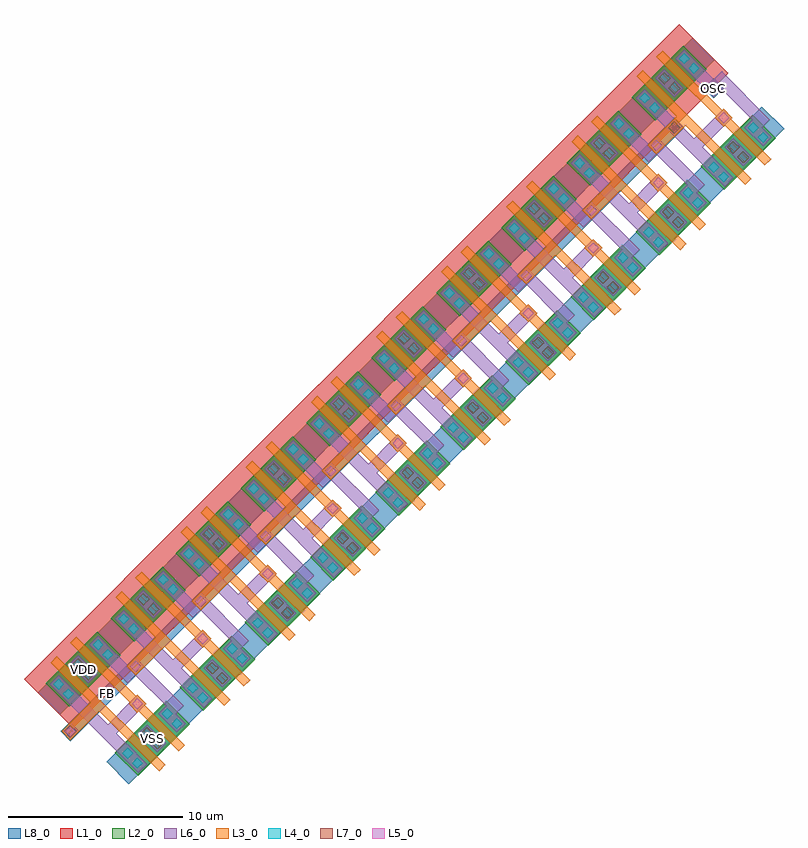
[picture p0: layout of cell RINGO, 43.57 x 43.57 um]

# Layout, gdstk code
from math import pi, radians
import gdstk
lib = gdstk.Library(unit=1e-6, precision=1e-09)
def P(c, l, *ps):  # polygons
    for p in ps: c.add(gdstk.Polygon(p, *l))
L1_0 = (1, 0)
L2_0 = (2, 0)
L3_0 = (3, 0)
L4_0 = (4, 0)
L5_0 = (5, 0)
L6_0 = (6, 0)
L7_0 = (7, 0)
L8_0 = (8, 0)

trans = lib.new_cell('TRANS')
P(trans, L2_0, [(-0.247,-1.591),(-1.591,-0.247),(0.247,1.591),(1.591,0.247)])
P(trans, L4_0, [(-0.283,-1.16),(-0.594,-0.849),(-0.283,-0.537),(0.028,-0.849)],
  [(-0.849,-0.594),(-1.16,-0.283),(-0.849,0.028),(-0.537,-0.283)],
  [(0.849,-0.028),(0.537,0.283),(0.849,0.594),(1.16,0.283)],
  [(0.283,0.537),(-0.028,0.849),(0.283,1.16),(0.594,0.849)])
P(trans, L6_0, [(-0.283,-1.358),(-1.358,-0.283),(-0.849,0.226),(0.226,-0.849)],
  [(0.849,-0.226),(-0.226,0.849),(0.283,1.358),(1.358,0.283)])
trans.add(gdstk.FlexPath([(1.131,-1.131),(-1.131,1.131)], 0.5, ends="flush", simple_path=True, layer=3, datatype=0))  # L3_0

inv2 = lib.new_cell('INV2')
P(inv2, L1_0, [(-4.525,0.566),(-7.354,3.394),(-3.394,7.354),(-0.566,4.525)])
P(inv2, L3_0, [(-0.389,-1.096),(-3.924,2.44),(-3.571,2.793),(-0.035,-0.742)],
  [(0.742,0.035),(-2.793,3.571),(-2.44,3.924),(1.096,0.389)],
  [(-0.849,1.471),(-1.358,1.98),(-0.849,2.489),(-0.339,1.98)],
  [(-4.695,-0.113),(-5.204,0.396),(-3.366,2.234),(-2.857,1.725)])
P(inv2, L5_0, [(-0.849,1.669),(-1.16,1.98),(-0.849,2.291),(-0.537,1.98)],
  [(-4.695,0.085),(-5.006,0.396),(-4.695,0.707),(-4.384,0.396)])
P(inv2, L6_0, [(-0.792,-1.98),(-4.808,2.036),(-4.299,2.546),(-0.283,-1.471)],
  [(-2.291,0.028),(-2.8,0.537),(-0.849,2.489),(-0.339,1.98)])
P(inv2, L7_0, [(0.283,-0.636),(-0.071,-0.283),(0.283,0.071),(0.636,-0.283)],
  [(-0.283,-0.071),(-0.636,0.283),(-0.283,0.636),(0.071,0.283)],
  [(-3.677,3.323),(-4.031,3.677),(-3.677,4.031),(-3.323,3.677)],
  [(-4.243,3.889),(-4.596,4.243),(-4.243,4.596),(-3.889,4.243)])
P(inv2, L8_0, [(-1.344,-2.616),(-2.616,-1.344),(1.344,2.616),(2.616,1.344)],
  [(-5.303,1.344),(-6.576,2.616),(-2.616,6.576),(-1.344,5.303)])
inv2.add(gdstk.FlexPath([(0.849,1.414),(1.301,1.867),(-0.962,4.13),(-1.414,3.677),(-2.291,4.554)], 0.72, ends="flush", simple_path=True, layer=6, datatype=0))  # L6_0
inv2.add(gdstk.Reference(trans, (-0.566,-0.566)))
inv2.add(gdstk.Reference(trans, (-4.525,3.394)))
inv2.add(gdstk.Reference(trans, (0.566,0.566), rotation=pi/2, x_reflection=True))
inv2.add(gdstk.Reference(trans, (-3.394,4.525), rotation=pi/2, x_reflection=True))
inv2.add(gdstk.Label('IN', (-3.677,1.414), layer=3, texttype=1))
inv2.add(gdstk.Label('OUT', (-1.414,3.677), layer=6, texttype=1))

ringo = lib.new_cell('RINGO')
P(ringo, L6_0, [(-4.695,-0.113),(-5.204,0.396),(-4.695,0.905),(-4.186,0.396)])
P(ringo, L7_0, [(-4.695,0.042),(-5.049,0.396),(-4.695,0.75),(-4.342,0.396)],
  [(29.925,34.662),(29.571,35.016),(29.925,35.369),(30.278,35.016)],
  [(32.188,36.925),(31.834,37.279),(32.188,37.632),(32.541,37.279)])
P(ringo, L8_0, [(-4.695,-0.17),(-5.261,0.396),(29.925,35.582),(30.49,35.016)],
  [(32.188,36.713),(31.622,37.279),(32.188,37.844),(32.753,37.279)])
ringo.add(gdstk.Reference(inv2, (0,0)))
ringo.add(gdstk.Reference(inv2, (3.734,3.734)))
ringo.add(gdstk.Reference(inv2, (7.467,7.467)))
ringo.add(gdstk.Reference(inv2, (11.201,11.201)))
ringo.add(gdstk.Reference(inv2, (14.934,14.934)))
ringo.add(gdstk.Reference(inv2, (18.668,18.668)))
ringo.add(gdstk.Reference(inv2, (22.401,22.401)))
ringo.add(gdstk.Reference(inv2, (26.135,26.135)))
ringo.add(gdstk.Reference(inv2, (29.868,29.868)))
ringo.add(gdstk.Reference(inv2, (33.602,33.602)))
ringo.add(gdstk.Label('OSC', (32.188,37.279), layer=8, texttype=1))
ringo.add(gdstk.Label('FB', (-2.546,2.546), layer=8, texttype=1))
ringo.add(gdstk.Label('VSS', (0,0), layer=8, texttype=1))
ringo.add(gdstk.Label('VDD', (-3.96,3.96), layer=8, texttype=1))

lib.write_gds('RINGO.gds')
